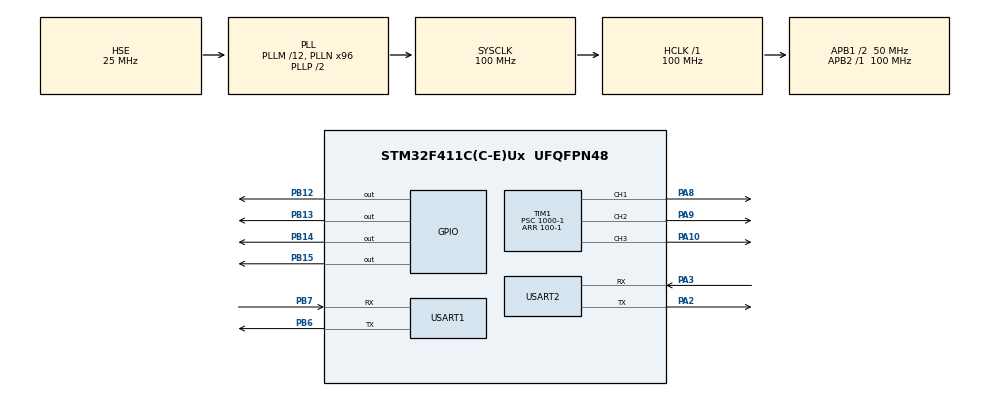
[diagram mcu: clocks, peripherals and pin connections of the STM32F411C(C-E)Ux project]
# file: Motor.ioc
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Mcu.Family=STM32F4
Mcu.Name=STM32F411C(C-E)Ux
Mcu.Package=UFQFPN48
NVIC.PriorityGroup=NVIC_PRIORITYGROUP_4
NVIC.TIM1_BRK_TIM9_IRQn=true\:0\:0\:false\:false\:true\:true\:true
NVIC.TIM1_CC_IRQn=true\:0\:0\:false\:false\:true\:true\:true
NVIC.TIM1_TRG_COM_TIM11_IRQn=true\:0\:0\:false\:false\:true\:true\:true
NVIC.TIM1_UP_TIM10_IRQn=true\:0\:0\:false\:false\:true\:true\:true
NVIC.TIM3_IRQn=true\:0\:0\:false\:false\:true\:true\:true
NVIC.USART1_IRQn=true\:0\:0\:false\:false\:true\:true\:true
NVIC.USART2_IRQn=true\:0\:0\:false\:false\:true\:true\:true
PA10.Signal=S_TIM1_CH3
PA13.Mode=Trace_Asynchronous_SW
PA13.Signal=SYS_JTMS-SWDIO
PA14.Mode=Trace_Asynchronous_SW
PA14.Signal=SYS_JTCK-SWCLK
PA2.Mode=Asynchronous
PA2.Signal=USART2_TX
PA3.Mode=Asynchronous
PA3.Signal=USART2_RX
PA8.Signal=S_TIM1_CH1
PA9.Signal=S_TIM1_CH2
PB12.Signal=GPIO_Output
PB13.Signal=GPIO_Output
PB14.Signal=GPIO_Output
PB15.Signal=GPIO_Output
PB3.Mode=Trace_Asynchronous_SW
PB3.Signal=SYS_JTDO-SWO
PB6.Mode=Asynchronous
PB6.Signal=USART1_TX
PB7.Mode=Asynchronous
PB7.Signal=USART1_RX
PC14-OSC32_IN.Mode=LSE-External-Oscillator
PC14-OSC32_IN.Signal=RCC_OSC32_IN
PC15-OSC32_OUT.Mode=LSE-External-Oscillator
PC15-OSC32_OUT.Signal=RCC_OSC32_OUT
PH0\ -\ OSC_IN.Mode=HSE-External-Oscillator
PH0\ -\ OSC_IN.Signal=RCC_OSC_IN
PH1\ -\ OSC_OUT.Mode=HSE-External-Oscillator
PH1\ -\ OSC_OUT.Signal=RCC_OSC_OUT
ProjectManager.HeapSize=0x3000
ProjectManager.StackSize=0x400
ProjectManager.TargetToolchain=SW4STM32
RCC.48MHZClocksFreq_Value=50000000
RCC.AHBFreq_Value=100000000
RCC.APB1CLKDivider=RCC_HCLK_DIV2
RCC.APB1Freq_Value=50000000
RCC.APB1TimFreq_Value=100000000
RCC.APB2Freq_Value=100000000
RCC.APB2TimFreq_Value=100000000
RCC.CortexFreq_Value=100000000
RCC.HCLKFreq_Value=100000000
RCC.HSE_VALUE=25000000
RCC.HSI_VALUE=16000000
RCC.PLLM=12
RCC.PLLN=96
RCC.PLLSourceVirtual=RCC_PLLSOURCE_HSE
RCC.SYSCLKFreq_VALUE=100000000
RCC.SYSCLKSource=RCC_SYSCLKSOURCE_PLLCLK
RCC.VCOOutputFreq_Value=200000000
SH.S_TIM1_CH1.0=TIM1_CH1,PWM Generation1 CH1
SH.S_TIM1_CH2.0=TIM1_CH2,PWM Generation2 CH2
SH.S_TIM1_CH3.0=TIM1_CH3,PWM Generation3 CH3
TIM1.Channel-PWM\ Generation1\ CH1=TIM_CHANNEL_1
TIM1.Channel-PWM\ Generation2\ CH2=TIM_CHANNEL_2
TIM1.Channel-PWM\ Generation3\ CH3=TIM_CHANNEL_3
TIM1.Period=100-1
TIM1.Prescaler=1000-1
TIM3.Period=100-1
TIM3.Prescaler=1000-1
USART1.VirtualMode=VM_ASYNC
USART2.VirtualMode=VM_ASYNC
VP_TIM1_VS_ClockSourceINT.Mode=Internal
VP_TIM3_VS_ClockSourceINT.Mode=Internal
board=custom

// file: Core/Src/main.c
/* USER CODE BEGIN Header */
/**
  ******************************************************************************
  * @file           : main.c
  * @brief          : Main program body
  ******************************************************************************
  * @attention
  *
  * <h2><center>&copy; Copyright (c) 2020 STMicroelectronics.
  * All rights reserved.</center></h2>
  *
  * This software component is licensed by ST under BSD 3-Clause license,
  * the "License"; You may not use this file except in compliance with the
  * License. You may obtain a copy of the License at:
  *                        opensource.org/licenses/BSD-3-Clause
  *
  ******************************************************************************
  */
/* USER CODE END Header */

#include "main.h"
#include "tim.h"
#include "usart.h"
#include "gpio.h"

/* USER CODE BEGIN Includes */
#include "string.h"
#include "log.h"
#include "wifi.h"
#include "multi_timer.h"
#include "pwm.h"
#include "stdlib.h"
#include "data.h"
#include <math.h>
/* USER CODE END Includes */

/* USER CODE BEGIN PTD */
#pragma clang diagnostic push
#pragma clang diagnostic ignored "-Wmissing-noreturn"

/* USER CODE END PTD */

void SystemClock_Config(void);

/* USER CODE BEGIN 0 */
struct Timer timer1;
struct Timer timer2;

int pwmBi = 0;
uint32_t lastDo = 0;

void timer1_callback() {
    if (uart1_state == FINISH) {
        Uart1("电脑回复: %s", uart1_data);
        Uart2("%s", uart1_data);
        //Print("%s\r\n", uart1_data);
        uart1_state = FREE;
    }
    if (uart2_state == FINISH) {
        //Uart2("%s", uart2_data);
        //Log("收到App数据: %s", uart2_data);
        Uart1("Esp8266回复(%dms): %s\r\n", HAL_GetTick() - lastDo, uart2_data);
        lastDo = HAL_GetTick();
        char *ptr;
        int start = -1;
        int end = -1;
        for (int i = 0; i < strlen(uart2_data); i++) {
            if (uart2_data[i] == ':') {
                start = i + 1;
            }
            if (start != -1) {
                if (uart2_data[i] == '#') {
                    end = i;
                }
            }
        }
        int num = 1;
        if (start != -1 && end != -1) {
            num = end - start;
        }
        char xs[num];
        memset(xs, 0, sizeof(xs));
        for (int j = 0; j < num; j++) {
            xs[j] = uart2_data[start + j];
        }
        char *stop;
        pwmBi = strtol(xs, &stop, 10);
        uart2_state = FREE;
    }
    if (pwmBi == 400) {
        pwmBi = 0;
    } else if (pwmBi == 100) {
        pwmBi = 25;
    } else if (pwmBi == 300) {
        pwmBi = 75;
    } else if (pwmBi == 404) {
        pwmBi = 50;
    }
    __HAL_TIM_SET_COMPARE(&htim1, TIM_CHANNEL_1, pwmBi);
//    if (pwmBi < 100) {
//        pwmBi++;
//    } else {
//        pwmBi = 0;
//    }
}

void timer2_callback() {
//    if (connectService()) {
//        sendToWifi("%d", TIM1->CCR1);
//    }
    //Log("AT+CIPSTART=\"TCP\",\"119.23.172.242\",8088\r\n");
}

/* USER CODE END 0 */

int main(void) {

    /* MCU Configuration--------------------------------------------------------*/

    /* Reset of all peripherals, Initializes the Flash interface and the Systick. */
    HAL_Init();

    /* Configure the system clock */
    SystemClock_Config();

    /* Initialize all configured peripherals */
    MX_GPIO_Init();
    MX_TIM1_Init();
    MX_USART2_UART_Init();
    MX_TIM3_Init();
    MX_USART1_UART_Init();
    /* USER CODE BEGIN 2 */

    HAL_TIM_Base_Start_IT(&htim1);
    HAL_TIM_Base_Start_IT(&htim3);

    HAL_TIM_PWM_Start_IT(&htim1, TIM_CHANNEL_1);
    HAL_TIM_PWM_Start_IT(&htim1, TIM_CHANNEL_2);
    HAL_TIM_PWM_Start_IT(&htim1, TIM_CHANNEL_3);

    uart_rev_init();

    timer_init(&timer1, timer1_callback, 100, 100); //1s loop
    timer_start(&timer1);

    timer_init(&timer2, timer2_callback, 100, 100); //1s loop
    timer_start(&timer2);

    // 睡眠至高电平
    HAL_GPIO_WritePin(GPIOB, GPIO_PIN_12, GPIO_PIN_SET);
    HAL_GPIO_WritePin(GPIOB, GPIO_PIN_13, GPIO_PIN_SET);
    HAL_GPIO_WritePin(GPIOB, GPIO_PIN_14, GPIO_PIN_SET);
    HAL_GPIO_WritePin(GPIOB, GPIO_PIN_15, GPIO_PIN_SET);

    /* USER CODE END 2 */

    /* Infinite loop */
    while (1) {

        /* USER CODE BEGIN 3 */
        timer_loop();
    }
    /* USER CODE END 3 */
}

void SystemClock_Config(void) {
    RCC_OscInitTypeDef RCC_OscInitStruct = {0};
    RCC_ClkInitTypeDef RCC_ClkInitStruct = {0};

    /** Configure the main internal regulator output voltage
    */
    __HAL_RCC_PWR_CLK_ENABLE();
    __HAL_PWR_VOLTAGESCALING_CONFIG(PWR_REGULATOR_VOLTAGE_SCALE1);
    /** Initializes the CPU, AHB and APB busses clocks
    */
    RCC_OscInitStruct.OscillatorType = RCC_OSCILLATORTYPE_HSE;
    RCC_OscInitStruct.HSEState = RCC_HSE_ON;
    RCC_OscInitStruct.PLL.PLLState = RCC_PLL_ON;
    RCC_OscInitStruct.PLL.PLLSource = RCC_PLLSOURCE_HSE;
    RCC_OscInitStruct.PLL.PLLM = 12;
    RCC_OscInitStruct.PLL.PLLN = 96;
    RCC_OscInitStruct.PLL.PLLP = RCC_PLLP_DIV2;
    RCC_OscInitStruct.PLL.PLLQ = 4;
    if (HAL_RCC_OscConfig(&RCC_OscInitStruct) != HAL_OK) {
        Error_Handler();
    }
    /** Initializes the CPU, AHB and APB busses clocks
    */
    RCC_ClkInitStruct.ClockType = RCC_CLOCKTYPE_HCLK | RCC_CLOCKTYPE_SYSCLK
                                  | RCC_CLOCKTYPE_PCLK1 | RCC_CLOCKTYPE_PCLK2;
    RCC_ClkInitStruct.SYSCLKSource = RCC_SYSCLKSOURCE_PLLCLK;
    RCC_ClkInitStruct.AHBCLKDivider = RCC_SYSCLK_DIV1;
    RCC_ClkInitStruct.APB1CLKDivider = RCC_HCLK_DIV2;
    RCC_ClkInitStruct.APB2CLKDivider = RCC_HCLK_DIV1;

    if (HAL_RCC_ClockConfig(&RCC_ClkInitStruct, FLASH_LATENCY_3) != HAL_OK) {
        Error_Handler();
    }
}

/* USER CODE BEGIN 4 */

void HAL_TIM_PeriodElapsedCallback(TIM_HandleTypeDef *htim) {
    if (htim->Instance == TIM1) {
        //iqHandler();
    }
    if (htim->Instance == TIM3) {
        timer_ticks();
    }
}

void HAL_UART_TxCpltCallback(UART_HandleTypeDef *huart) {
    uart_send_all_loop(huart);
}

void HAL_UART_RxCpltCallback(UART_HandleTypeDef *huart) {
    uart_rev_all_loop(huart);
}

void HAL_UART_ErrorCallback(UART_HandleTypeDef *huart) {
    if (huart->ErrorCode & HAL_UART_ERROR_ORE) {
        __HAL_UART_CLEAR_OREFLAG(huart);
        uart_rev_all_loop(huart);
    }
}
/* USER CODE END 4 */

void Error_Handler(void) {
}

/************************ (C) COPYRIGHT STMicroelectronics *****END OF FILE****/
